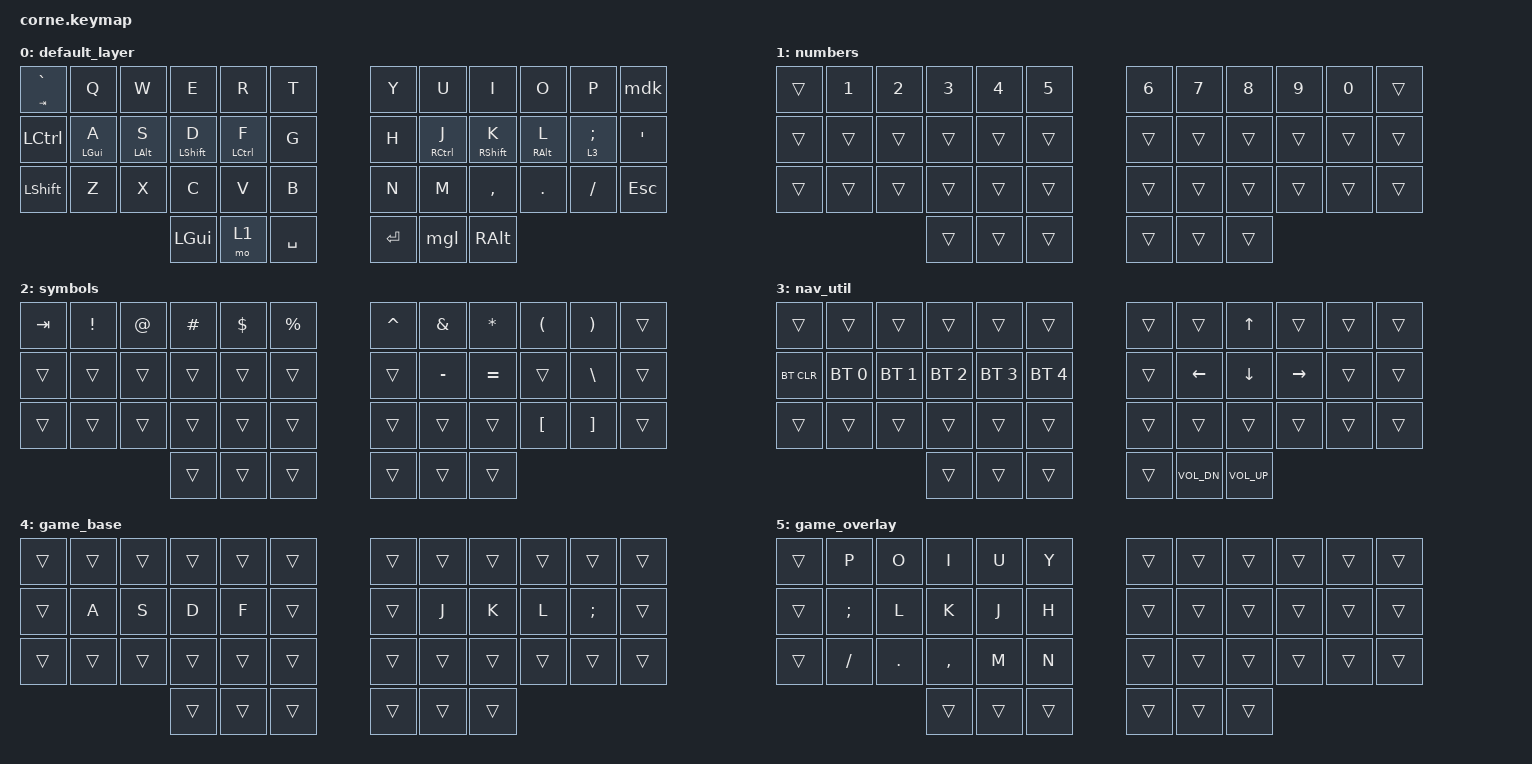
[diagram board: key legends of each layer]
/*
 * Copyright (c) 2020 The ZMK Contributors
 *
 * SPDX-License-Identifier: MIT
 */

#include <behaviors.dtsi>
#include <dt-bindings/zmk/bt.h>
#include <dt-bindings/zmk/keys.h>

&sk { /delete-property/ ignore-modifiers; };

/ {
    behaviors {
        hml: hml {
            compatible = "zmk,behavior-hold-tap";
            label = "homerow_mods_left";
            bindings = <&kp>, <&kp>;

            #binding-cells = <2>;
            tapping-term-ms = <200>;
            hold-trigger-key-positions = <39 40 41 18 30 6 7 19 31 32 20 8 9 21 33 34 22 10 11 23 35>;
        };

        hmr: hmr {
            compatible = "zmk,behavior-hold-tap";
            label = "homerow_mods_right";
            bindings = <&kp>, <&kp>;

            #binding-cells = <2>;
            tapping-term-ms = <200>;
            hold-trigger-key-positions = <0 1 2 3 4 5 12 13 14 15 16 17 24 25 26 27 28 29 36 37 38>;
        };

        hfak: hfak {
            compatible = "zmk,behavior-hold-tap";
            label = "hold_for_alt_kp";
            bindings = <&kp>, <&kp>;

            #binding-cells = <2>;
            tapping-term-ms = <200>;
        };

        mgl: mgl {
            compatible = "zmk,behavior-mod-morph";
            label = "morph_game_layer";
            bindings = <&mo 2>, <&tog 4>;

            #binding-cells = <0>;
            mods = <(MOD_LSFT)>;
        };

        mdk: mdk {
            compatible = "zmk,behavior-mod-morph";
            label = "morph_del_key";
            bindings = <&kp BACKSPACE>, <&kp DEL>;

            #binding-cells = <0>;
            mods = <(MOD_LSFT)>;
        };
    };

    combos {
        compatible = "zmk,combos";

        COMBO_GAME_LALT {
            bindings = <&kp LALT>;
            key-positions = <24 37>;
            layers = <4>;
        };

        COMBO_GAME_LCTRL {
            bindings = <&kp LCTRL>;
            key-positions = <24 36>;
            layers = <4>;
        };

        COMBO_GAME_OVERLAY {
            bindings = <&mo 5>;
            key-positions = <36 37>;
            layers = <4>;
        };
    };

    keymap {
        compatible = "zmk,keymap";

        default_layer {
            // -----------------------------------------------------------------------------------------
            // |  TAB |  Q  |  W  |  E  |  R  |  T  |   |  Y  |  U   |  I  |  O  |  P  | BKSP |
            // | CTRL |  A  |  S  |  D  |  F  |  G  |   |  H  |  J   |  K  |  L  |  ;  |  '   |
            // | SHFT |  Z  |  X  |  C  |  V  |  B  |   |  N  |  M   |  ,  |  .  |  /  | ESC  |
            //                    | GUI | LWR | SPC |   | ENT | RSE  | ALT |

            bindings = <
&hfak TAB GRAVE  &kp Q        &kp W        &kp E          &kp R         &kp T        &kp Y    &kp U         &kp I          &kp O        &kp P            &mdk
&kp LCTRL        &hml LGUI A  &hml LALT S  &hml LSHIFT D  &hml LCTRL F  &kp G        &kp H    &hmr RCTRL J  &hmr RSHIFT K  &hmr RALT L  &lt 3 SEMICOLON  &kp SQT
&kp LSHFT        &kp Z        &kp X        &kp C          &kp V         &kp B        &kp N    &kp M         &kp COMMA      &kp DOT      &kp FSLH         &kp ESC
                                           &kp LGUI       &mo 1         &kp SPACE    &kp RET  &mgl          &kp RALT
            >;
        };

        numbers {
            bindings = <
&trans  &kp N1  &kp N2  &kp N3  &kp N4  &kp N5    &kp N6  &kp N7  &kp N8  &kp N9  &kp N0  &trans
&trans  &trans  &trans  &trans  &trans  &trans    &trans  &trans  &trans  &trans  &trans  &trans
&trans  &trans  &trans  &trans  &trans  &trans    &trans  &trans  &trans  &trans  &trans  &trans
                        &trans  &trans  &trans    &trans  &trans  &trans
            >;
        };

        symbols {
            // -----------------------------------------------------------------------------------------
            // |  TAB |  !  |  @  |  #  |  $  |  %  |   |  ^  |  &  |  *  |  (  |  )  | BKSP |
            // | CTRL |     |     |     |     |     |   |  -  |  =  |  [  |  ]  |  \  |  `   |
            // | SHFT |     |     |     |     |     |   |  _  |  +  |  {  |  }  | "|" |  ~   |
            //                    | GUI |     | SPC |   | ENT |     | ALT |

            bindings = <
&kp TAB  &kp EXCL  &kp AT  &kp HASH  &kp DLLR  &kp PRCNT    &kp CARET  &kp AMPS   &kp ASTRK  &kp LPAR          &kp RPAR           &trans
&trans   &trans    &trans  &trans    &trans    &trans       &trans     &kp MINUS  &kp EQUAL  &trans            &kp BSLH           &trans
&trans   &trans    &trans  &trans    &trans    &trans       &trans     &trans     &trans     &kp LEFT_BRACKET  &kp RIGHT_BRACKET  &trans
                           &trans    &trans    &trans       &trans     &trans     &trans
            >;
        };

        nav_util {
            // -----------------------------------------------------------------------------------------
            // |  TAB |  1  |  2  |  3  |  4  |  5  |   |  6  |  7  |  8  |  9  |  0  | BKSP |
            // | BTCLR| BT1 | BT2 | BT3 | BT4 | BT5 |   | LFT | DWN |  UP | RGT |     |      |
            // | SHFT |     |     |     |     |     |   |     |     |     |     |     |      |
            //                    | GUI |     | SPC |   | ENT |     | ALT |

            bindings = <
&trans      &trans        &trans        &trans        &trans        &trans          &trans  &trans        &kp UP        &trans     &trans  &trans
&bt BT_CLR  &bt BT_SEL 0  &bt BT_SEL 1  &bt BT_SEL 2  &bt BT_SEL 3  &bt BT_SEL 4    &trans  &kp LEFT      &kp DOWN      &kp RIGHT  &trans  &trans
&trans      &trans        &trans        &trans        &trans        &trans          &trans  &trans        &trans        &trans     &trans  &trans
                                        &trans        &trans        &trans          &trans  &kp C_VOL_DN  &kp C_VOL_UP
            >;
        };

        game_base {
            bindings = <
&trans  &trans  &trans  &trans  &trans  &trans    &trans  &trans  &trans  &trans  &trans    &trans
&trans  &kp A   &kp S   &kp D   &kp F   &trans    &trans  &kp J   &kp K   &kp L   &kp SEMI  &trans
&trans  &trans  &trans  &trans  &trans  &trans    &trans  &trans  &trans  &trans  &trans    &trans
                        &trans  &trans  &trans    &trans  &trans  &trans
            >;
        };

        game_overlay {
            bindings = <
&trans  &kp P     &kp O    &kp I      &kp U   &kp Y     &trans  &trans  &trans  &trans  &trans  &trans
&trans  &kp SEMI  &kp L    &kp K      &kp J   &kp H     &trans  &trans  &trans  &trans  &trans  &trans
&trans  &kp FSLH  &kp DOT  &kp COMMA  &kp M   &kp N     &trans  &trans  &trans  &trans  &trans  &trans
                           &trans     &trans  &trans    &trans  &trans  &trans
            >;
        };
    };

    conditional_layers { compatible = "zmk,conditional-layers"; };
};
